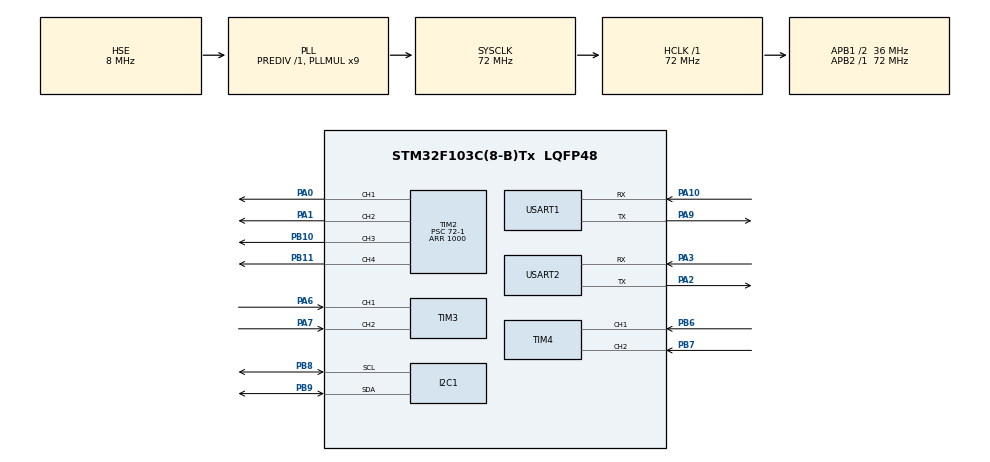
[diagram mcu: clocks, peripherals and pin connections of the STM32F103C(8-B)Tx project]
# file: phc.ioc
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Mcu.Family=STM32F1
Mcu.Name=STM32F103C(8-B)Tx
Mcu.Package=LQFP48
NVIC.I2C1_EV_IRQn=true\:0\:0\:false\:false\:true\:true\:true\:true
NVIC.PriorityGroup=NVIC_PRIORITYGROUP_4
NVIC.TIM1_UP_IRQn=true\:0\:0\:false\:false\:true\:true\:true\:true
NVIC.USART1_IRQn=true\:0\:0\:false\:false\:true\:true\:true\:true
NVIC.USART2_IRQn=true\:1\:0\:true\:false\:true\:true\:true\:true
PA0-WKUP.Signal=S_TIM2_CH1_ETR
PA1.Signal=S_TIM2_CH2
PA10.Mode=Asynchronous
PA10.Signal=USART1_RX
PA13.Mode=Serial_Wire
PA13.Signal=SYS_JTMS-SWDIO
PA14.Mode=Serial_Wire
PA14.Signal=SYS_JTCK-SWCLK
PA2.Mode=Asynchronous
PA2.Signal=USART2_TX
PA3.Mode=Asynchronous
PA3.Signal=USART2_RX
PA6.Signal=S_TIM3_CH1
PA7.Signal=S_TIM3_CH2
PA9.Mode=Asynchronous
PA9.Signal=USART1_TX
PB10.Signal=S_TIM2_CH3
PB11.Signal=S_TIM2_CH4
PB6.Signal=S_TIM4_CH1
PB7.Signal=S_TIM4_CH2
PB8.Mode=I2C
PB8.Signal=I2C1_SCL
PB9.Mode=I2C
PB9.Signal=I2C1_SDA
PD0-OSC_IN.Mode=HSE-External-Oscillator
PD0-OSC_IN.Signal=RCC_OSC_IN
PD1-OSC_OUT.Mode=HSE-External-Oscillator
PD1-OSC_OUT.Signal=RCC_OSC_OUT
ProjectManager.HeapSize=0x200
ProjectManager.StackSize=0x400
ProjectManager.TargetToolchain=MDK-ARM V5.32
RCC.AHBFreq_Value=72000000
RCC.APB1CLKDivider=RCC_HCLK_DIV2
RCC.APB1Freq_Value=36000000
RCC.APB1TimFreq_Value=72000000
RCC.APB2Freq_Value=72000000
RCC.APB2TimFreq_Value=72000000
RCC.EnbaleCSS=true
RCC.HCLKFreq_Value=72000000
RCC.PLLMUL=RCC_PLL_MUL9
RCC.PLLSourceVirtual=RCC_PLLSOURCE_HSE
RCC.SYSCLKFreq_VALUE=72000000
RCC.SYSCLKSource=RCC_SYSCLKSOURCE_PLLCLK
RCC.USBFreq_Value=72000000
SH.S_TIM2_CH1_ETR.0=TIM2_CH1,PWM Generation1 CH1
SH.S_TIM2_CH2.0=TIM2_CH2,PWM Generation2 CH2
SH.S_TIM2_CH3.0=TIM2_CH3,PWM Generation3 CH3
SH.S_TIM2_CH4.0=TIM2_CH4,PWM Generation4 CH4
SH.S_TIM3_CH1.0=TIM3_CH1,Encoder_Interface
SH.S_TIM3_CH2.0=TIM3_CH2,Encoder_Interface
SH.S_TIM4_CH1.0=TIM4_CH1,Encoder_Interface
SH.S_TIM4_CH2.0=TIM4_CH2,Encoder_Interface
TIM1.AutoReloadPreload=TIM_AUTORELOAD_PRELOAD_ENABLE
TIM1.Period=999
TIM1.Prescaler=71
TIM2.AutoReloadPreload=TIM_AUTORELOAD_PRELOAD_ENABLE
TIM2.Channel-PWM\ Generation1\ CH1=TIM_CHANNEL_1
TIM2.Channel-PWM\ Generation2\ CH2=TIM_CHANNEL_2
TIM2.Channel-PWM\ Generation3\ CH3=TIM_CHANNEL_3
TIM2.Channel-PWM\ Generation4\ CH4=TIM_CHANNEL_4
TIM2.ClockDivision=TIM_CLOCKDIVISION_DIV1
TIM2.Period=1000
TIM2.Prescaler=72-1
USART1.VirtualMode=VM_ASYNC
USART2.VirtualMode=VM_ASYNC
VP_TIM1_VS_ClockSourceINT.Mode=Internal
board=custom

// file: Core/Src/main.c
/* USER CODE BEGIN Header */
/**
  ******************************************************************************
  * @file           : main.c
  * @brief          : Main program body
  ******************************************************************************
  * @attention
  *
  * Copyright (c) 2026 STMicroelectronics.
  * All rights reserved.
  *
  * This software is licensed under terms that can be found in the LICENSE file
  * in the root directory of this software component.
  * If no LICENSE file comes with this software, it is provided AS-IS.
  *
  ******************************************************************************
  */
/* USER CODE END Header */
#include "main.h"

/* USER CODE BEGIN Includes */
 #include "lanya.h"
 #include "OLED.h"
 #include "OLEDFont.h"
 #include "JY61P.h"
 #include "PWM.h"
 #include "Timer.h"
 #include "PID.h"
/* USER CODE END Includes */

I2C_HandleTypeDef hi2c1;

TIM_HandleTypeDef htim1;
TIM_HandleTypeDef htim2;
TIM_HandleTypeDef htim3;
TIM_HandleTypeDef htim4;

UART_HandleTypeDef huart1;
UART_HandleTypeDef huart2;

void SystemClock_Config(void);
static void MX_GPIO_Init(void);
static void MX_I2C1_Init(void);
static void MX_USART1_UART_Init(void);
static void MX_USART2_UART_Init(void);
static void MX_TIM3_Init(void);
static void MX_TIM4_Init(void);
static void MX_TIM1_Init(void);
static void MX_TIM2_Init(void);

/* USER CODE BEGIN 0 */
PID_t angle;
PID_t speed;
PID_t dif;
/* USER CODE END 0 */

int main(void)
{

  /* MCU Configuration--------------------------------------------------------*/

  /* Reset of all peripherals, Initializes the Flash interface and the Systick. */
  HAL_Init();

  /* Configure the system clock */
  SystemClock_Config();

  /* Initialize all configured peripherals */
  MX_GPIO_Init();
  MX_I2C1_Init();
  MX_USART1_UART_Init();
  MX_USART2_UART_Init();
  MX_TIM3_Init();
  MX_TIM4_Init();
  MX_TIM1_Init();
  MX_TIM2_Init();
  WJ_Set_leftPWM(0);
  WJ_Set_rightPWM(0);
  /* USER CODE BEGIN 2 */
  /* 必须放在 USER CODE 区内, 否则 CubeMX 重新生成会被删掉 */
  HAL_TIM_Encoder_Start(&htim3, TIM_CHANNEL_ALL);
  HAL_TIM_Encoder_Start(&htim4, TIM_CHANNEL_ALL);
  HAL_Delay(20);
  OLED_Init();
  HAL_UART_Receive_IT(&huart2,&lanya_data,1);
  HAL_UART_Receive_IT(&huart1,&JY61P_Data[0],1);
  PID_Init(&angle);
  PID_Init(&speed);
  angle.ErrorInt=0;
  angle.Kp=14;
  angle.Ki=0.4;
  angle.Kd=56;
  angle.OutMax=500;
  angle.OutMin=-500;
  angle.IntMax=1000;	/* 积分限幅: Ki*1000 = 400, 不会顶死在 OutMax */
  speed.ErrorInt=0;
  /* 速度外环默认关闭(Kp=0), 保证上电后仍是已验证过的纯角度环平衡车。
   * 启用步骤: 手持车、轮子悬空, 发 $v,0.02,0,0 把 Kp 设成 0.02,
   * 再用 $v,50 给目标速度, 观察 speed.Out 的符号:
   *   车应当朝"能抵消该转速"的方向倾斜; 如果反而加速跑开, 说明符号反了,
   *   把 Kp 改成负值(或给遥控速度取负)。
   * 确认方向正确后再逐步加大到 0.05 左右, 最后加积分 Ki ≈ Kp/80。 */
  speed.Kp=0.001;
  speed.Ki=0.001;
  speed.Kd=0.001;			/* 编码器差分量化噪声大, 不加微分 */
  speed.OutMax=8;		/* 输出是目标倾角(度), 不是 PWM: 8 度已经是很猛的加速 */
  speed.OutMin=-8;
  speed.IntMax=0;		/* Ki=0 时不积分; 发 $v,kp,ki,kd 会自动重算 */
  PID_Init(&dif);
  dif.Kp=5.0;			/* 输出就是 PWM: 30rpm 转速差 -> 150 PWM, 手感明显 */
  dif.Ki=0.0;			/* 先用纯 P, 转向抖/超调就减半, 迟钝就加倍 */
  dif.Kd=0.0;			/* 编码器差分有量化噪声, 不加微分 */
  dif.OutMax=400;
  dif.OutMin=-400;
  dif.IntMax=0;			/* Ki=0 时不积分; 发 $d,kp,ki,kd 会自动重算 */
  /* USER CODE END 2 */

  /* Infinite loop */
  /* USER CODE BEGIN WHILE */
  while (1)
  {
	  OLED_NewFrame();
	  OLED_PrintASCIIString(0, 0,"Pitch:",&afont16x8, OLED_COLOR_NORMAL);
	  OLED_PrintASCIIString(0, 16,"Kp:",&afont16x8, OLED_COLOR_NORMAL);
	  OLED_PrintASCIIString(0, 32,"Ki:",&afont16x8, OLED_COLOR_NORMAL);
	  OLED_PrintASCIIString(0, 48,"Kd:",&afont16x8, OLED_COLOR_NORMAL);
	  /* 小数: 第二个数字参数是小数位数(0~6) */
	  OLED_PrintFloat(48, 0,Pitch-BALANCE_ANGLE,2, &afont16x8, OLED_COLOR_NORMAL);
	  OLED_PrintFloat(48, 16,speed.Kp,2, &afont16x8, OLED_COLOR_NORMAL);
	  OLED_PrintFloat(48, 32,speed.Ki,2, &afont16x8, OLED_COLOR_NORMAL);
	  OLED_PrintFloat(48, 48,speed.Kd,2, &afont16x8, OLED_COLOR_NORMAL);
	  OLED_ShowFrame();
    /* USER CODE END WHILE */

  }
}

void SystemClock_Config(void)
{
  RCC_OscInitTypeDef RCC_OscInitStruct = {0};
  RCC_ClkInitTypeDef RCC_ClkInitStruct = {0};

  /** Initializes the RCC Oscillators according to the specified parameters
  * in the RCC_OscInitTypeDef structure.
  */
  RCC_OscInitStruct.OscillatorType = RCC_OSCILLATORTYPE_HSE;
  RCC_OscInitStruct.HSEState = RCC_HSE_ON;
  RCC_OscInitStruct.HSEPredivValue = RCC_HSE_PREDIV_DIV1;
  RCC_OscInitStruct.HSIState = RCC_HSI_ON;
  RCC_OscInitStruct.PLL.PLLState = RCC_PLL_ON;
  RCC_OscInitStruct.PLL.PLLSource = RCC_PLLSOURCE_HSE;
  RCC_OscInitStruct.PLL.PLLMUL = RCC_PLL_MUL9;
  if (HAL_RCC_OscConfig(&RCC_OscInitStruct) != HAL_OK)
  {
    Error_Handler();
  }

  /** Initializes the CPU, AHB and APB buses clocks
  */
  RCC_ClkInitStruct.ClockType = RCC_CLOCKTYPE_HCLK|RCC_CLOCKTYPE_SYSCLK
                              |RCC_CLOCKTYPE_PCLK1|RCC_CLOCKTYPE_PCLK2;
  RCC_ClkInitStruct.SYSCLKSource = RCC_SYSCLKSOURCE_PLLCLK;
  RCC_ClkInitStruct.AHBCLKDivider = RCC_SYSCLK_DIV1;
  RCC_ClkInitStruct.APB1CLKDivider = RCC_HCLK_DIV2;
  RCC_ClkInitStruct.APB2CLKDivider = RCC_HCLK_DIV1;

  if (HAL_RCC_ClockConfig(&RCC_ClkInitStruct, FLASH_LATENCY_2) != HAL_OK)
  {
    Error_Handler();
  }

  /** Enables the Clock Security System
  */
  HAL_RCC_EnableCSS();
}

static void MX_I2C1_Init(void)
{

  hi2c1.Instance = I2C1;
  hi2c1.Init.ClockSpeed = 100000;
  hi2c1.Init.DutyCycle = I2C_DUTYCYCLE_2;
  hi2c1.Init.OwnAddress1 = 0;
  hi2c1.Init.AddressingMode = I2C_ADDRESSINGMODE_7BIT;
  hi2c1.Init.DualAddressMode = I2C_DUALADDRESS_DISABLE;
  hi2c1.Init.OwnAddress2 = 0;
  hi2c1.Init.GeneralCallMode = I2C_GENERALCALL_DISABLE;
  hi2c1.Init.NoStretchMode = I2C_NOSTRETCH_DISABLE;
  if (HAL_I2C_Init(&hi2c1) != HAL_OK)
  {
    Error_Handler();
  }

}

static void MX_TIM1_Init(void)
{

  TIM_ClockConfigTypeDef sClockSourceConfig = {0};
  TIM_MasterConfigTypeDef sMasterConfig = {0};

  htim1.Instance = TIM1;
  htim1.Init.Prescaler = 71;
  htim1.Init.CounterMode = TIM_COUNTERMODE_UP;
  htim1.Init.Period = 999;
  htim1.Init.ClockDivision = TIM_CLOCKDIVISION_DIV1;
  htim1.Init.RepetitionCounter = 0;
  htim1.Init.AutoReloadPreload = TIM_AUTORELOAD_PRELOAD_ENABLE;
  if (HAL_TIM_Base_Init(&htim1) != HAL_OK)
  {
    Error_Handler();
  }
  sClockSourceConfig.ClockSource = TIM_CLOCKSOURCE_INTERNAL;
  if (HAL_TIM_ConfigClockSource(&htim1, &sClockSourceConfig) != HAL_OK)
  {
    Error_Handler();
  }
  sMasterConfig.MasterOutputTrigger = TIM_TRGO_RESET;
  sMasterConfig.MasterSlaveMode = TIM_MASTERSLAVEMODE_DISABLE;
  if (HAL_TIMEx_MasterConfigSynchronization(&htim1, &sMasterConfig) != HAL_OK)
  {
    Error_Handler();
  }
  /* USER CODE BEGIN TIM1_Init 2 */
  HAL_TIM_Base_Start_IT(&htim1);
  /* USER CODE END TIM1_Init 2 */

}

static void MX_TIM2_Init(void)
{

  TIM_MasterConfigTypeDef sMasterConfig = {0};
  TIM_OC_InitTypeDef sConfigOC = {0};

  htim2.Instance = TIM2;
  htim2.Init.Prescaler = 72-1;
  htim2.Init.CounterMode = TIM_COUNTERMODE_UP;
  htim2.Init.Period = 1000;
  htim2.Init.ClockDivision = TIM_CLOCKDIVISION_DIV1;
  htim2.Init.AutoReloadPreload = TIM_AUTORELOAD_PRELOAD_ENABLE;
  if (HAL_TIM_PWM_Init(&htim2) != HAL_OK)
  {
    Error_Handler();
  }
  sMasterConfig.MasterOutputTrigger = TIM_TRGO_RESET;
  sMasterConfig.MasterSlaveMode = TIM_MASTERSLAVEMODE_DISABLE;
  if (HAL_TIMEx_MasterConfigSynchronization(&htim2, &sMasterConfig) != HAL_OK)
  {
    Error_Handler();
  }
  sConfigOC.OCMode = TIM_OCMODE_PWM1;
  sConfigOC.Pulse = 0;
  sConfigOC.OCPolarity = TIM_OCPOLARITY_HIGH;
  sConfigOC.OCFastMode = TIM_OCFAST_DISABLE;
  if (HAL_TIM_PWM_ConfigChannel(&htim2, &sConfigOC, TIM_CHANNEL_1) != HAL_OK)
  {
    Error_Handler();
  }
  if (HAL_TIM_PWM_ConfigChannel(&htim2, &sConfigOC, TIM_CHANNEL_2) != HAL_OK)
  {
    Error_Handler();
  }
  if (HAL_TIM_PWM_ConfigChannel(&htim2, &sConfigOC, TIM_CHANNEL_3) != HAL_OK)
  {
    Error_Handler();
  }
  if (HAL_TIM_PWM_ConfigChannel(&htim2, &sConfigOC, TIM_CHANNEL_4) != HAL_OK)
  {
    Error_Handler();
  }
  /* USER CODE BEGIN TIM2_Init 2 */
  HAL_TIM_MspPostInit(&htim2);

  HAL_TIM_PWM_Start(&htim2, TIM_CHANNEL_1);
  HAL_TIM_PWM_Start(&htim2, TIM_CHANNEL_2);
  HAL_TIM_PWM_Start(&htim2, TIM_CHANNEL_3);
  HAL_TIM_PWM_Start(&htim2, TIM_CHANNEL_4);
  /* USER CODE END TIM2_Init 2 */
}

static void MX_TIM3_Init(void)
{

  TIM_Encoder_InitTypeDef sConfig = {0};
  TIM_MasterConfigTypeDef sMasterConfig = {0};

  htim3.Instance = TIM3;
  htim3.Init.Prescaler = 0;
  htim3.Init.CounterMode = TIM_COUNTERMODE_UP;
  htim3.Init.Period = 65535;
  htim3.Init.ClockDivision = TIM_CLOCKDIVISION_DIV1;
  htim3.Init.AutoReloadPreload = TIM_AUTORELOAD_PRELOAD_DISABLE;
  sConfig.EncoderMode = TIM_ENCODERMODE_TI12;
  sConfig.IC1Polarity = TIM_ICPOLARITY_RISING;
  sConfig.IC1Selection = TIM_ICSELECTION_DIRECTTI;
  sConfig.IC1Prescaler = TIM_ICPSC_DIV1;
  sConfig.IC1Filter = 10;
  sConfig.IC2Polarity = TIM_ICPOLARITY_RISING;
  sConfig.IC2Selection = TIM_ICSELECTION_DIRECTTI;
  sConfig.IC2Prescaler = TIM_ICPSC_DIV1;
  sConfig.IC2Filter = 10;
  if (HAL_TIM_Encoder_Init(&htim3, &sConfig) != HAL_OK)
  {
    Error_Handler();
  }
  sMasterConfig.MasterOutputTrigger = TIM_TRGO_RESET;
  sMasterConfig.MasterSlaveMode = TIM_MASTERSLAVEMODE_DISABLE;
  if (HAL_TIMEx_MasterConfigSynchronization(&htim3, &sMasterConfig) != HAL_OK)
  {
    Error_Handler();
  }

}

static void MX_TIM4_Init(void)
{

  TIM_Encoder_InitTypeDef sConfig = {0};
  TIM_MasterConfigTypeDef sMasterConfig = {0};

  htim4.Instance = TIM4;
  htim4.Init.Prescaler = 0;
  htim4.Init.CounterMode = TIM_COUNTERMODE_UP;
  htim4.Init.Period = 65535;
  htim4.Init.ClockDivision = TIM_CLOCKDIVISION_DIV1;
  htim4.Init.AutoReloadPreload = TIM_AUTORELOAD_PRELOAD_DISABLE;
  sConfig.EncoderMode = TIM_ENCODERMODE_TI12;
  sConfig.IC1Polarity = TIM_ICPOLARITY_RISING;
  sConfig.IC1Selection = TIM_ICSELECTION_DIRECTTI;
  sConfig.IC1Prescaler = TIM_ICPSC_DIV1;
  sConfig.IC1Filter = 10;
  sConfig.IC2Polarity = TIM_ICPOLARITY_RISING;
  sConfig.IC2Selection = TIM_ICSELECTION_DIRECTTI;
  sConfig.IC2Prescaler = TIM_ICPSC_DIV1;
  sConfig.IC2Filter = 10;
  if (HAL_TIM_Encoder_Init(&htim4, &sConfig) != HAL_OK)
  {
    Error_Handler();
  }
  sMasterConfig.MasterOutputTrigger = TIM_TRGO_RESET;
  sMasterConfig.MasterSlaveMode = TIM_MASTERSLAVEMODE_DISABLE;
  if (HAL_TIMEx_MasterConfigSynchronization(&htim4, &sMasterConfig) != HAL_OK)
  {
    Error_Handler();
  }

}

static void MX_USART1_UART_Init(void)
{

  huart1.Instance = USART1;
  huart1.Init.BaudRate = 115200;
  huart1.Init.WordLength = UART_WORDLENGTH_8B;
  huart1.Init.StopBits = UART_STOPBITS_1;
  huart1.Init.Parity = UART_PARITY_NONE;
  huart1.Init.Mode = UART_MODE_TX_RX;
  huart1.Init.HwFlowCtl = UART_HWCONTROL_NONE;
  huart1.Init.OverSampling = UART_OVERSAMPLING_16;
  if (HAL_UART_Init(&huart1) != HAL_OK)
  {
    Error_Handler();
  }

}

static void MX_USART2_UART_Init(void)
{

  huart2.Instance = USART2;
  huart2.Init.BaudRate = 115200;
  huart2.Init.WordLength = UART_WORDLENGTH_8B;
  huart2.Init.StopBits = UART_STOPBITS_1;
  huart2.Init.Parity = UART_PARITY_NONE;
  huart2.Init.Mode = UART_MODE_TX_RX;
  huart2.Init.HwFlowCtl = UART_HWCONTROL_NONE;
  huart2.Init.OverSampling = UART_OVERSAMPLING_16;
  if (HAL_UART_Init(&huart2) != HAL_OK)
  {
    Error_Handler();
  }

}

static void MX_GPIO_Init(void)
{

  /* GPIO Ports Clock Enable */
  LL_APB2_GRP1_EnableClock(LL_APB2_GRP1_PERIPH_GPIOD);
  LL_APB2_GRP1_EnableClock(LL_APB2_GRP1_PERIPH_GPIOA);
  LL_APB2_GRP1_EnableClock(LL_APB2_GRP1_PERIPH_GPIOB);

}

void Error_Handler(void)
{
  __disable_irq();
  while (1)
  {
  }
}
